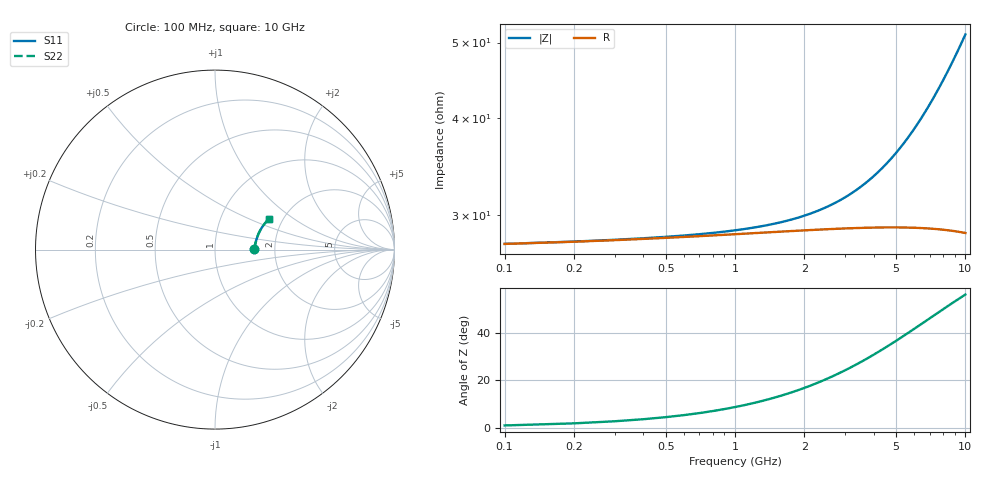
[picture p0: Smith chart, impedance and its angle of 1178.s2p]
# Hz S RI R 50.00
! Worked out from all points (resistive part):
!   100 points, 100 MHz to 10 GHz, reference 50 ohm
!   read as one part in series: R = 27.6 ohm at 100 MHz
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1e8  0.2161 0.00206  0.7839 -0.0032  0.7839 -0.0032  0.2161 0.00206
2e8  0.2172 0.0041  0.7828 -0.00639  0.7828 -0.00639  0.2172 0.0041
3e8  0.218 0.00613  0.7819 -0.00957  0.7819 -0.00957  0.218 0.00613
4e8  0.2187 0.00815  0.7812 -0.0127  0.7812 -0.0127  0.2187 0.00815
7e8  0.2204 0.0142  0.7795 -0.0222  0.7795 -0.0222  0.2204 0.0142
1.3e9  0.2233 0.0262  0.7766 -0.0411  0.7766 -0.0411  0.2233 0.0262
1.8e9  0.2256 0.036  0.7742 -0.0567  0.7742 -0.0567  0.2256 0.036
2.2e9  0.2275 0.0438  0.7721 -0.0691  0.7721 -0.0691  0.2275 0.0438
2.6e9  0.2297 0.0516  0.7698 -0.0814  0.7698 -0.0814  0.2297 0.0516
3e9  0.232 0.0592  0.7674 -0.0936  0.7674 -0.0936  0.232 0.0592
3.4e9  0.2344 0.0668  0.7647 -0.1058  0.7647 -0.1058  0.2344 0.0668
3.8e9  0.2371 0.0743  0.7618 -0.1179  0.7618 -0.1179  0.2371 0.0743
4.2e9  0.24 0.0816  0.7587 -0.1298  0.7587 -0.1298  0.24 0.0816
4.6e9  0.2431 0.0889  0.7554 -0.1417  0.7554 -0.1417  0.2431 0.0889
5.1e9  0.2472 0.0978  0.7509 -0.1563  0.7509 -0.1563  0.2472 0.0978
5.9e9  0.2545 0.1116  0.743 -0.1794  0.743 -0.1794  0.2545 0.1116
6.7e9  0.2625 0.1249  0.7342 -0.2019  0.7342 -0.2019  0.2625 0.1249
7.5e9  0.2713 0.1375  0.7245 -0.2238  0.7245 -0.2238  0.2713 0.1375
7.9e9  0.2759 0.1436  0.7194 -0.2344  0.7194 -0.2344  0.2759 0.1436
8.4e9  0.282 0.151  0.7128 -0.2476  0.7128 -0.2476  0.282 0.151
9.2e9  0.2922 0.1621  0.7015 -0.268  0.7015 -0.268  0.2922 0.1621
1e10  0.303 0.1725  0.6896 -0.2877  0.6896 -0.2877  0.303 0.1725
